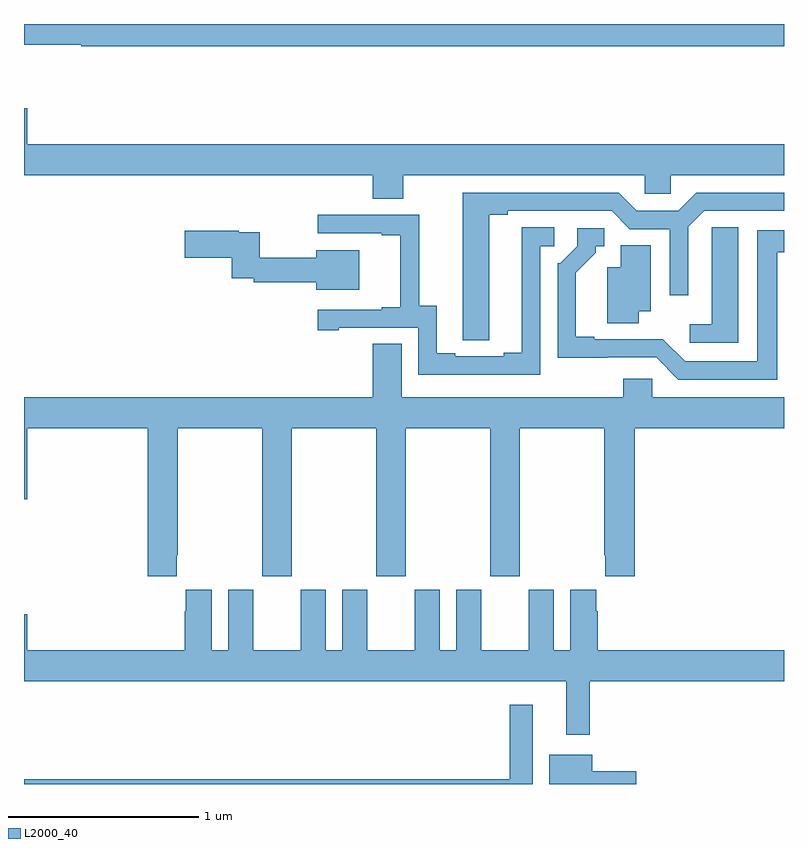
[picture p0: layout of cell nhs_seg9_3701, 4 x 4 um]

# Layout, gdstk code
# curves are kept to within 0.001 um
import gdstk
lib = gdstk.Library(unit=1e-6, precision=1e-09)
def P(c, l, *ps):  # polygons
    for p in ps: c.add(gdstk.Polygon(p, *l))
L2000_40 = (2000, 40)

nhs_seg9_3701 = lib.new_cell('nhs_seg9_3701')
P(nhs_seg9_3701, L2000_40, [(325,1246.5),(321,1246.5),(321,1246.392),(321.302,1246.392),(321.302,1246.384),(325,1246.384)],
  [(322.995,1245.704),(324.267,1245.704),(324.267,1245.606),(324.405,1245.606),(324.405,1245.704),(325,1245.704),(325,1245.868),(321.016,1245.868),(321.016,1246.057),(321,1246.057),(321,1245.704),(322.835,1245.704),(322.835,1245.58),(322.995,1245.58)],
  [(323.449,1245.496),(323.545,1245.496),(323.545,1245.516),(324.093,1245.516),(324.189,1245.42),(324.399,1245.42),(324.399,1245.072),(324.495,1245.072),(324.495,1245.432),(324.579,1245.516),(325,1245.516),(325,1245.612),(324.539,1245.612),(324.443,1245.516),(324.225,1245.516),(324.129,1245.612),(323.309,1245.612),(323.31,1244.836),(323.449,1244.836)],
  [(323.718,1245.33),(323.791,1245.33),(323.791,1245.431),(323.621,1245.431),(323.621,1244.771),(323.525,1244.771),(323.525,1244.751),(323.269,1244.751),(323.269,1244.766),(323.173,1244.766),(323.173,1245.017),(323.079,1245.017),(323.079,1245.495),(322.545,1245.495),(322.545,1245.399),(322.883,1245.399),(322.883,1245.387),(322.979,1245.387),(322.979,1245.01),(322.883,1245.01),(322.883,1244.997),(322.545,1244.997),(322.545,1244.889),(322.657,1244.889),(322.657,1244.901),(323.076,1244.901),(323.076,1244.655),(323.718,1244.655)],
  [(324.76,1245.431),(324.621,1245.431),(324.621,1245.323),(324.62,1245.323),(324.62,1244.92),(324.504,1244.92),(324.504,1244.823),(324.76,1244.823)],
  [(324.964,1245.298),(325,1245.298),(325,1245.414),(324.86,1245.414),(324.86,1244.724),(324.48,1244.724),(324.362,1244.842),(324.001,1244.841),(324.001,1244.854),(323.905,1244.854),(323.905,1245.19),(324.01,1245.295),(324.01,1245.33),(324.055,1245.33),(324.055,1245.426),(323.913,1245.426),(323.913,1245.33),(323.823,1245.24),(323.808,1245.24),(323.808,1244.744),(324.327,1244.745),(324.444,1244.628),(324.964,1244.628)],
  [(322.765,1245.31),(322.538,1245.31),(322.538,1245.271),(322.242,1245.271),(322.242,1245.403),(322.13,1245.403),(322.13,1245.411),(321.846,1245.411),(321.846,1245.269),(322.094,1245.269),(322.094,1245.162),(322.21,1245.162),(322.21,1245.142),(322.538,1245.142),(322.538,1245.101),(322.765,1245.101)],
  [(324.235,1244.987),(324.298,1244.987),(324.298,1245.335),(324.14,1245.335),(324.14,1245.22),(324.071,1245.22),(324.071,1244.926),(324.235,1244.926)],
  [(321.805,1243.705),(321.81,1243.705),(321.81,1244.372),(322.255,1244.372),(322.255,1243.593),(322.41,1243.593),(322.41,1244.372),(322.855,1244.372),(322.855,1243.593),(323.01,1243.593),(323.01,1244.372),(323.455,1244.372),(323.455,1243.593),(323.61,1243.593),(323.61,1244.372),(324.055,1244.372),(324.055,1243.705),(324.059,1243.705),(324.059,1243.593),(324.215,1243.593),(324.215,1244.372),(325,1244.372),(325,1244.536),(324.306,1244.536),(324.306,1244.634),(324.155,1244.634),(324.155,1244.536),(322.987,1244.536),(322.987,1244.816),(322.835,1244.816),(322.835,1244.536),(321,1244.536),(321,1243.998),(321.016,1243.998),(321.016,1244.372),(321.65,1244.372),(321.65,1243.593),(321.805,1243.593)],
  [(323.977,1243.04),(325,1243.04),(325,1243.204),(324.02,1243.204),(324.02,1243.409),(324.013,1243.409),(324.013,1243.522),(323.876,1243.522),(323.876,1243.204),(323.788,1243.204),(323.788,1243.522),(323.657,1243.522),(323.657,1243.204),(323.407,1243.204),(323.407,1243.522),(323.276,1243.522),(323.276,1243.204),(323.188,1243.204),(323.188,1243.522),(323.057,1243.522),(323.057,1243.204),(322.807,1243.204),(322.807,1243.522),(322.676,1243.522),(322.676,1243.204),(322.588,1243.204),(322.588,1243.522),(322.457,1243.522),(322.457,1243.204),(322.207,1243.204),(322.207,1243.522),(322.076,1243.522),(322.076,1243.204),(321.988,1243.204),(321.988,1243.522),(321.851,1243.522),(321.851,1243.409),(321.845,1243.409),(321.845,1243.204),(321.016,1243.204),(321.016,1243.393),(321,1243.393),(321,1243.04),(323.855,1243.04),(323.855,1242.759),(323.977,1242.759)],
  [(323.677,1242.916),(323.556,1242.916),(323.556,1242.524),(321,1242.524),(321,1242.5),(323.677,1242.5)],
  [(324.223,1242.567),(323.992,1242.567),(323.992,1242.655),(323.765,1242.655),(323.765,1242.5),(324.223,1242.5)])

lib.write_gds('nhs_seg9_3701.gds')
